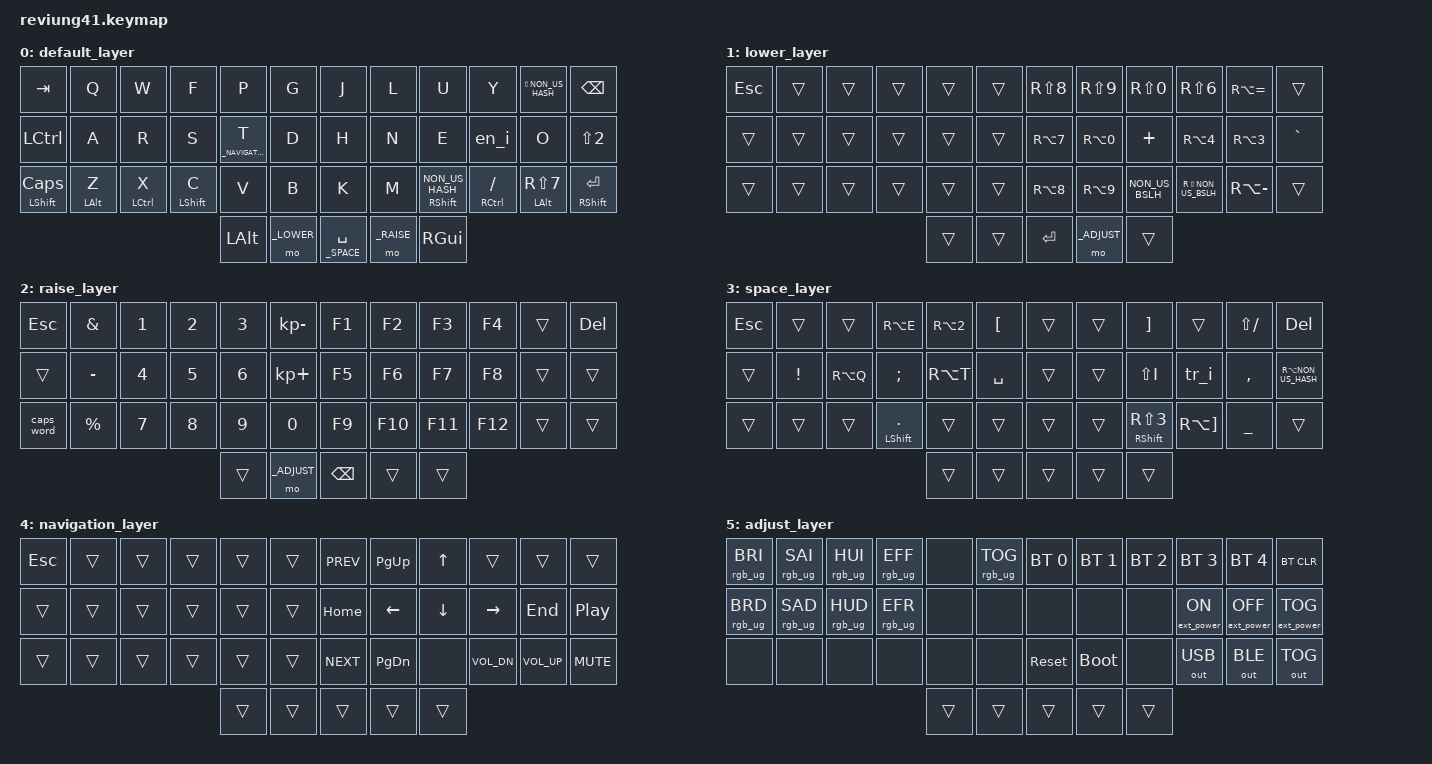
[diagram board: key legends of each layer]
// !!!!!!   Turkish Q Layout  !!!!!!

#include <behaviors.dtsi>
#include <dt-bindings/zmk/keys.h>
#include <dt-bindings/zmk/bt.h>
#include <dt-bindings/zmk/rgb.h>
#include <dt-bindings/zmk/outputs.h>
#include <dt-bindings/zmk/ext_power.h>
#include <dt-bindings/led/led.h>
#include <../boards/shields/reviung41/boards/nice_nano_v2.overlay>

// Layers
#define _COLEMAK     0
#define _LOWER       1
#define _RAISE       2
#define _SPACE       3
#define _NAVIGATION  4
#define _ADJUST      5



&lt {
  quick_tap_ms = <200>;
};



// &caps_word {
//     continue-list = <UNDERSCORE MINUS>;
// };

/ {
    behaviors {
        en_i: en_i {
            compatible = "zmk,behavior-mod-morph";
            #binding-cells = <0>;
            bindings = <&kp SQT>, <&kp LS(I)>;
            mods = <(MOD_LSFT|MOD_RSFT)>;
        };
        tr_i: tr_i {
            compatible = "zmk,behavior-mod-morph";
            #binding-cells = <0>;
            bindings = <&kp I>, <&kp LS(SQT)>;
            mods = <(MOD_LSFT|MOD_RSFT)>;
        };
    };
    keymap {
    compatible = "zmk,keymap";

    // COLEMAK LAYER (DEFAUT)
    // ,----------------------------------------------+          +------------------------------------------------.
    // |   TAB    |  Q   |   W  |   F  |   P  |   G   |          |   J  |   L  |   U  |   Y  |   ;  |     BSPC     |
    // |----------+------+------+------+------+-------+          +------+------+------+------+------+--------------|
    // |   LCTRL  |  A   |   R  |   S  |NAVI_T|   D   |          |   H  |   N  |   E  |   I  |   O  |      '       |
    // |----------+------+------+------+------+-------+          +------+------+------+------+------+--------------|
    // | LSFT_CAPS|LALT_Z|LCTL_X|LSFT_C|   V  |   B   |          |   K  |   M  |RSFT ,|RCTL .|RALT/ |   RSFT_ENT   |
    // |----------+------+------+------+------+-------+          +------+------+------+------+------+--------------|
    //                             | ALT  | Lower    |  Space_spc  | Raise   | WIN  |
    //                                +-------------/             \--------------+
    default_layer {
    bindings = <
    &kp TAB        &kp Q      &kp W       &kp F       &kp P              &kp G                &kp J &kp L  &kp U                 &kp Y          &kp LS(NON_US_HASH) &kp BSPC
    &kp LCTRL      &kp A      &kp R       &kp S       &lt _NAVIGATION T  &kp D                &kp H &kp N  &kp E                 &en_i          &kp O               &kp LS(N2)
    &mt LSHFT CLCK &mt LALT Z &mt LCTRL X &mt LSHFT C &kp V              &kp B                &kp K &kp M  &mt RSHFT NON_US_HASH &mt RCTRL FSLH &mt LALT RS(N7)     &mt RSHFT RET
                                                            &kp LALT  &mo _LOWER &lt _SPACE SPACE  &mo _RAISE  &kp RIGHT_GUI
                    >;
            };
    // LOWER LAYER
    // ,---------------------------------------------------+         +------------------------------------------.
    // |  ESC  |       |       |         |       |         |         |  (   |   )  |   =  |   &  |   |  |       |
    // |-------+-------+-------+---------+-------+---------+         +------+------+------+------+------+-------|
    // |       |       |       |         |       |         |         |  {   |   }  |   _  |   $  |   #  |   "   |
    // |-------+-------+-------+---------+-------+---------+         +------+------+------+------+------+-------|
    // |       |       |       |         |       |         |         |  [   |   ]  |   <  |   >  |   \  |       |
    // |-------+-------+-------+---------+-------+---------+         +------+------+------+------+------+-------|
    //                                   | ____ | ____ |      ENTER     | ____  | ____ |
    //                                   +-------------/                \--------------+
    lower_layer {
    bindings = <
    &kp ESC  &trans  &trans  &trans  &trans  &trans                &kp RS(N8)  &kp RS(N9) &kp RS(N0)        &kp RS(N6)           &kp RA(EQUAL)  &trans
    &trans   &trans  &trans  &trans  &trans  &trans                &kp RA(N7)  &kp RA(N0) &kp PLUS          &kp RA(N4)           &kp RA(N3)     &kp GRAVE
    &trans   &trans  &trans  &trans  &trans  &trans                &kp RA(N8)  &kp RA(N9) &kp NON_US_BSLH   &kp RS(NON_US_BSLH)  &kp RA(MINUS)  &trans
                               &trans      &trans       &kp RET       &mo _ADJUST       &trans
                    >;
            };

    // RAISE LAYER
    // ,-----------------------------------------------+         +------------------------------------------.
    // |  ESC  |   /  |   1   |    2   |   3   |   -   |         |  F1  |  F2  |  F3  |  F4  |      |       |
    // |-------+------+-------+--------+-------+-------+         +------+------+------+------+------+-------|
    // |       |   *  |   4   |    5   |   6   |   +   |         |  F5  |  F6  |  F7  |  F8  |      |       |
    // |-------+------+-------+--------+-------+-------+         +------+------+------+------+------+-------|
    // |cps_wrd|   %  |   7   |    8   |   9   |   0   |         |  F9  |  F10 |  F11  | F12 |      |       |
    // |-------+------+-------+--------+-------+-------+         +------+------+------+------+------+-------|
    //                                | ____ | ____ |     BSPC     | ____  | ____ |
    //                                +-------------/              \--------------+
    raise_layer {
    bindings = <
    &kp ESC      &kp AMPS    &kp N1  &kp N2  &kp N3  &kp KP_MINUS        &kp F1  &kp F2    &kp F3   &kp F4   &trans   &kp DEL
    &trans       &kp MINUS   &kp N4  &kp N5  &kp N6  &kp KP_PLUS         &kp F5  &kp F6    &kp F7   &kp F8   &trans   &trans
    &caps_word   &kp PRCNT   &kp N7  &kp N8  &kp N9  &kp N0              &kp F9  &kp F10   &kp F11  &kp F12  &trans   &trans
                                 &trans      &mo _ADJUST       &kp BSPC        &trans      &trans
                    >;
            };

    // SPACE LAYER
    // ,-------------------------------------------------- -+         +------------------------------------------.
    // |   ESC  |        |       |   €     |    £  |   Ğ    |         |      |      |   Ü  |      |  :   |  DEL  |
    // |--------+--------+-------+---------+-------+--------+         +------+------+------+------+------+-------|
    // |        |    !   |   @   |    Ş    |   ₺   | SPACE  |         |      |      | S(ı) |   I  |  Ö   |   `   |
    // |--------+--------+-------+---------+-------+--------+         +------+------+------+------+------+-------|
    // |        |        |       |    Ç    |       |        |         |      |      |   ^  |   ~  |  ?   |       |
    // |--------+--------+-------+---------+-------+--------+         +------+------+------+------+------+-------|
    //                                     | ____ | ____ |     _______      | ____  | ____ |
    //                                     +-------------/                \--------------+

    space_layer {
    bindings = <
    &kp ESC  &trans    &trans        &kp RA(E)          &kp  RA(N2)  &kp LBKT            &trans   &trans   &kp RBKT           &trans         &kp LS(SLASH)   &kp DEL
    &trans   &kp EXCL  &kp RA(Q)     &kp SEMI           &kp  RA(T)   &kp SPACE           &trans   &trans   &kp LS(I)          &tr_i          &kp COMMA       &kp RA(NON_US_HASH)
    &trans   &trans    &trans        &mt LSHFT  DOT     &trans       &trans              &trans   &trans   &mt RSHFT RS(N3)   &kp RA(RBKT)   &kp UNDER       &trans
                                                        &trans  &trans    &trans    &trans     &trans
                    >;
            };

    // NAVIGATION LAYER
    // ,---------------------------------------------------+         +------------------------------------------.
    // |       |       |       |         |       |         |         |C_PREV| PGUP |  UP  |      |      |       |
    // |-------+-------+-------+---------+-------+---------+         +------+------+------+------+------+-------|
    // |       |       |       |         |NAVI_T |         |         | HOME | LEFT | DOWN | RGHT | END  | MPLY  |
    // |-------+-------+-------+---------+-------+---------+         +------+------+------+------+------+-------|
    // |       |       |       |         |       |         |         |C_NEXT|PGDOWN|      |VLDOWN| VLUP | MUTE  |
    // |-------+-------+-------+---------+-------+---------+         +------+------+------+------+------+-------|
    //                                    | ____ | ____ |                | ____  | ____ |
    //                                    +-------------/                \--------------+

    navigation_layer {
    bindings = <
    &kp ESC  &trans  &trans  &trans  &trans  &trans            &kp C_PREV  &kp PG_UP   &kp UP     &trans         &trans         &trans
    &trans   &trans  &trans  &trans  &trans  &trans            &kp HOME    &kp LEFT    &kp DOWN   &kp RIGHT      &kp END        &kp C_PLAY_PAUSE
    &trans   &trans  &trans  &trans  &trans  &trans            &kp C_NEXT  &kp PG_DN   &none      &kp C_VOL_DN   &kp C_VOL_UP   &kp C_MUTE
                                    &trans  &trans    &trans    &trans     &trans
                    >;
            };

    // ADJUST LAYER
    // ,-------------------------------------------------------- -+         +-----------------------------------------.
    // | RGB BRI+ | RGB SAT+ | RGB HUE+ | RGB ANI+ |    | RGB TOG |         |  BT1  | BT2 | BT3 | BT4 | BT5  | BT CLR |
    // |----------+----------+----------+----------+----+---------+         +--- ---+-----+-----+-----+------+-- -----|
    // | RGB BRI- | RGB SAT- | RGB HUE- | RGB ANI- |    |         |         |       |     |     |EP_ON|EP_OFF| EP_TOG |
    // |----------+----------+----------+----------+----+---------+         +-------+-----+-----+-----+------+--------|
    // |          |          |          |          |    |         |         | RESET |BOOTL|     |O_USB|O_BLE |OUT_TOG |
    // |----------+----------+---------+-----------+----+---------+         +-------+-----+-----+-----+------+--------|
    //                                          | ____ | ____ |     _______      | ____  | ____ |
    //                                           +-------------/                \--------------+

    adjust_layer {
    bindings = <
    &rgb_ug RGB_BRI &rgb_ug RGB_SAI &rgb_ug RGB_HUI &rgb_ug RGB_EFF &none &rgb_ug RGB_TOG              &bt BT_SEL 0 &bt BT_SEL 1  &bt BT_SEL 2 &bt BT_SEL 3       &bt BT_SEL 4        &bt BT_CLR
    &rgb_ug RGB_BRD &rgb_ug RGB_SAD &rgb_ug RGB_HUD &rgb_ug RGB_EFR &none &none                        &none        &none         &none        &ext_power EP_ON   &ext_power EP_OFF   &ext_power EP_TOG
    &none           &none           &none           &none           &none &none                        &sys_reset   &bootloader   &none        &out OUT_USB       &out OUT_BLE        &out OUT_TOG
                                                                  &trans      &trans       &trans        &trans      &trans
                    >;
            };
        };
};

